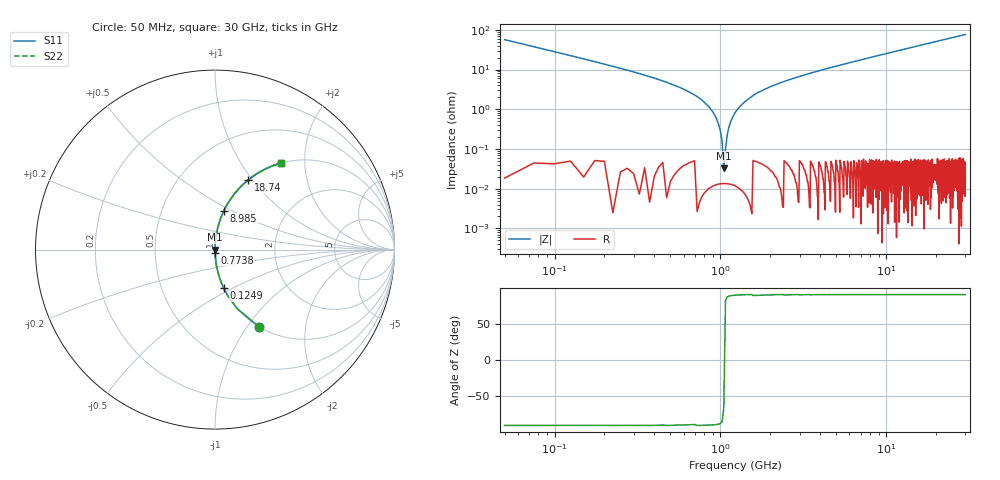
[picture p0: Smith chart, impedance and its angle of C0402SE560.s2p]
# MHZ S MA R 50
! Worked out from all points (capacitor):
!   1201 points, 50 MHz to 30 GHz, reference 50 ohm
!   read as one part in series: C = 56 pF near 199.8 MHz
!   lowest |Z| = 32.8 mohm at 1.048 GHz (marker M1)
!   series resonance near 1.054 GHz, so ESL is about 410 pH
!   S11 on the Smith chart (normalised r, x): 50 MHz: 1.00, -1.13; 124.9 MHz: 1.00, -0.45; 773.8 MHz: 1.00, -0.03; 8.985 GHz: 1.00, +0.45; 18.74 GHz: 1.00, +0.96; 30 GHz: 1.00, +1.53
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50  0.493 -60.4  0.87 29.6  0.87 29.6  0.493 -60.4
124.875  0.219 -77.3  0.975 12.6  0.975 12.6  0.219 -77.3
299.583  0.087 -84.8  0.996 5.0  0.996 5.0  0.087 -84.8
773.792  0.017 -88.1  1 1.0  1 1.0  0.017 -88.1
848.667  0.012 -88.0  1 0.7  1 0.7  0.012 -88.0
948.5  0.005713 -87.0  1 0.3  1 0.3  0.005713 -87.0
1048.333  0.0004047 -48.1  1 0.0  1 0.0  0.0004047 -48.1
1148.167  0.004615 86.4  1 -0.3  1 -0.3  0.004615 86.4
1198.083  0.00692 87.4  1 -0.4  1 -0.4  0.00692 87.4
1272.958  0.01 87.9  1 -0.6  1 -0.6  0.01 87.9
1447.667  0.017 88.1  1 -1.0  1 -1.0  0.017 88.1
1697.25  0.027 87.9  0.999 -1.5  0.999 -1.5  0.027 87.9
1996.75  0.037 87.5  0.999 -2.1  0.999 -2.1  0.037 87.5
3094.917  0.07 85.8  0.997 -4.0  0.997 -4.0  0.07 85.8
5041.667  0.122 82.8  0.992 -7.0  0.992 -7.0  0.122 82.8
8985.083  0.221 77.2  0.975 -12.8  0.975 -12.8  0.221 77.2
10058.29  0.246 75.7  0.969 -14.3  0.969 -14.3  0.246 75.7
15025  0.357 69.0  0.934 -20.9  0.934 -20.9  0.357 69.0
18743.79  0.431 64.4  0.902 -25.5  0.902 -25.5  0.431 64.4
20016.67  0.455 62.9  0.89 -27.0  0.89 -27.0  0.455 62.9
25033.29  0.538 57.4  0.842 -32.6  0.842 -32.6  0.538 57.4
30000  0.608 52.5  0.794 -37.5  0.794 -37.5  0.608 52.5
